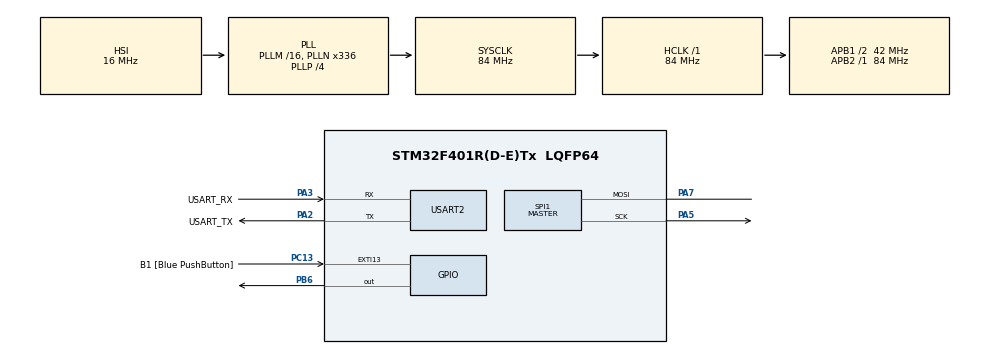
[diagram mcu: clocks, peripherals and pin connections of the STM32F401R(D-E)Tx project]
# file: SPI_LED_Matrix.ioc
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Dma.Request0=SPI1_TX
Dma.SPI1_TX.0.Direction=DMA_MEMORY_TO_PERIPH
Dma.SPI1_TX.0.FIFOMode=DMA_FIFOMODE_DISABLE
Dma.SPI1_TX.0.Instance=DMA2_Stream3
Dma.SPI1_TX.0.MemDataAlignment=DMA_MDATAALIGN_BYTE
Dma.SPI1_TX.0.MemInc=DMA_MINC_ENABLE
Dma.SPI1_TX.0.Mode=DMA_NORMAL
Dma.SPI1_TX.0.PeriphDataAlignment=DMA_PDATAALIGN_BYTE
Dma.SPI1_TX.0.PeriphInc=DMA_PINC_DISABLE
Dma.SPI1_TX.0.Priority=DMA_PRIORITY_LOW
Mcu.Family=STM32F4
Mcu.Name=STM32F401R(D-E)Tx
Mcu.Package=LQFP64
NVIC.DMA2_Stream3_IRQn=true\:0\:0\:false\:false\:true\:false\:true\:true
NVIC.PriorityGroup=NVIC_PRIORITYGROUP_1
NVIC.SPI1_IRQn=true\:0\:0\:false\:false\:true\:true\:true\:true
NVIC.TIM2_IRQn=true\:0\:0\:false\:false\:true\:true\:true\:true
PA13.GPIO_Label=TMS
PA13.Mode=Serial_Wire
PA13.Signal=SYS_JTMS-SWDIO
PA14.GPIO_Label=TCK
PA14.Mode=Serial_Wire
PA14.Signal=SYS_JTCK-SWCLK
PA2.GPIO_Label=USART_TX
PA2.GPIO_Mode=GPIO_MODE_AF_PP
PA2.GPIO_PuPd=GPIO_NOPULL
PA2.GPIO_Speed=GPIO_SPEED_FREQ_LOW
PA2.Mode=Asynchronous
PA2.Signal=USART2_TX
PA3.GPIO_Label=USART_RX
PA3.GPIO_Mode=GPIO_MODE_AF_PP
PA3.GPIO_PuPd=GPIO_NOPULL
PA3.GPIO_Speed=GPIO_SPEED_FREQ_LOW
PA3.Mode=Asynchronous
PA3.Signal=USART2_RX
PA5.Mode=Simplex_Bidirectional_Master
PA5.Signal=SPI1_SCK
PA6.Signal=SPI1_MISO
PA7.Mode=Simplex_Bidirectional_Master
PA7.Signal=SPI1_MOSI
PB3.GPIO_Label=SWO
PB3.Signal=SYS_JTDO-SWO
PB6.Signal=GPIO_Output
PC13-ANTI_TAMP.GPIO_Label=B1 [Blue PushButton]
PC13-ANTI_TAMP.GPIO_ModeDefaultEXTI=GPIO_MODE_IT_FALLING
PC13-ANTI_TAMP.GPIO_PuPd=GPIO_NOPULL
PC13-ANTI_TAMP.Signal=GPXTI13
PC14-OSC32_IN.Mode=LSE-External-Oscillator
PC14-OSC32_IN.Signal=RCC_OSC32_IN
PC15-OSC32_OUT.Mode=LSE-External-Oscillator
PC15-OSC32_OUT.Signal=RCC_OSC32_OUT
PH0\ -\ OSC_IN.Mode=HSE-External-Clock-Source
PH0\ -\ OSC_IN.Signal=RCC_OSC_IN
PH1\ -\ OSC_OUT.Mode=HSE-External-Clock-Source
PH1\ -\ OSC_OUT.Signal=RCC_OSC_OUT
ProjectManager.HeapSize=0x200
ProjectManager.StackSize=0x400
ProjectManager.TargetToolchain=STM32CubeIDE
RCC.48MHZClocksFreq_Value=48000000
RCC.AHBFreq_Value=84000000
RCC.APB1CLKDivider=RCC_HCLK_DIV2
RCC.APB1Freq_Value=42000000
RCC.APB1TimFreq_Value=84000000
RCC.APB2Freq_Value=84000000
RCC.APB2TimFreq_Value=84000000
RCC.CortexFreq_Value=84000000
RCC.HCLKFreq_Value=84000000
RCC.HSE_VALUE=8000000
RCC.HSI_VALUE=16000000
RCC.PLLN=336
RCC.PLLP=RCC_PLLP_DIV4
RCC.PLLQ=7
RCC.SYSCLKFreq_VALUE=84000000
RCC.SYSCLKSource=RCC_SYSCLKSOURCE_PLLCLK
RCC.VCOOutputFreq_Value=336000000
SPI1.BaudRatePrescaler=SPI_BAUDRATEPRESCALER_4
SPI1.Direction=SPI_DIRECTION_1LINE
SPI1.Mode=SPI_MODE_MASTER
SPI1.VirtualType=VM_MASTER
TIM2.Period=(TEMPO*10) - 1
TIM2.Prescaler=8400-1
USART2.VirtualMode=VM_ASYNC
VP_TIM2_VS_ClockSourceINT.Mode=Internal
board=NUCLEO-F401RE

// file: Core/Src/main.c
/* USER CODE BEGIN Header */
/**
  ******************************************************************************
  * @file           : main.c
  * @brief          : Main program body
  ******************************************************************************
  * @attention
  *
  * Copyright (c) 2024 STMicroelectronics.
  * All rights reserved.
  *
  * This software is licensed under terms that can be found in the LICENSE file
  * in the root directory of this software component.
  * If no LICENSE file comes with this software, it is provided AS-IS.
  *
  ******************************************************************************
  */
/* USER CODE END Header */
#include "main.h"

/* USER CODE BEGIN PD */
#define TEMPO 4	//time in milliseconds
/* USER CODE END PD */

SPI_HandleTypeDef hspi1;
DMA_HandleTypeDef hdma_spi1_tx;

TIM_HandleTypeDef htim2;

UART_HandleTypeDef huart2;

/* USER CODE BEGIN PV */

uint8_t i    = 0; 					//It indicates the current column that we are controlling
uint8_t size = 2;				//The number of bytes we send through the SPI

uint8_t letter_flag   = 0; 		// It is used to write different letter: A = 0, H = 1
uint16_t letter_timer = 0; 		//This timer will keep track of the total time a letter has been showed

uint16_t showing_time = 4000; 	//You can put here in millisecond your preferred showing time

/* USER CODE END PV */

void SystemClock_Config(void);
static void MX_GPIO_Init(void);
static void MX_DMA_Init(void);
static void MX_USART2_UART_Init(void);
static void MX_SPI1_Init(void);
static void MX_TIM2_Init(void);
/* USER CODE BEGIN PFP */
struct rowcolumn {
	uint8_t row;
	uint8_t column;
};

struct rowcolumn A_letter[5] = {
		{31, 16},
		{36, 8},
		{68, 4},
		{36, 2},
		{31, 1}
};

struct rowcolumn H_letter[5] = {
		{127, 16},
		{8, 8},
		{8, 4},
		{8, 2},
		{127, 1}
};
/* USER CODE END PFP */

/* USER CODE BEGIN 0 */
void HAL_TIM_PeriodElapsedCallback (TIM_HandleTypeDef *htim) {

	if (htim == &htim2) //According to TIM2, values are sent each 4 ms through SPI
		{

			HAL_GPIO_WritePin(GPIOB, GPIO_PIN_6, GPIO_PIN_RESET); //Do not copy the values in the output LATCHES yet

			if (letter_flag == 0)
				HAL_SPI_Transmit_DMA(&hspi1, &A_letter[i], size); //Send the column of letter A
			else
				HAL_SPI_Transmit_DMA(&hspi1, &H_letter[i], size); //Send the column of letter H

			letter_timer++;	//Increase the letter_timer to keep track how many time is elapsed

			if(letter_timer == showing_time/TEMPO) //If we reach the max showing time, we change letter
			{
				letter_flag = !letter_flag;
				letter_timer = 0;
			}

		}

}

void HAL_SPI_TxCpltCallback(SPI_HandleTypeDef *hspi) {

	HAL_GPIO_WritePin(GPIOB, GPIO_PIN_6, GPIO_PIN_SET); //When the communication is finished, the
														//values are allowed to be written in the LED Matrix

	if(i == 4)  //if we have reached the last column
		i = 0;  //return to the first column
	else
		i++;	//switch to the next column

}
/* USER CODE END 0 */

int main(void)
{

  /* MCU Configuration--------------------------------------------------------*/

  /* Reset of all peripherals, Initializes the Flash interface and the Systick. */
  HAL_Init();

  /* Configure the system clock */
  SystemClock_Config();

  /* Initialize all configured peripherals */
  MX_GPIO_Init();
  MX_DMA_Init();
  MX_USART2_UART_Init();
  MX_SPI1_Init();
  MX_TIM2_Init();
  /* USER CODE BEGIN 2 */

  HAL_TIM_Base_Start_IT(&htim2);

  /* USER CODE END 2 */

  /* Infinite loop */
  while (1)
  {

  }
}

void SystemClock_Config(void)
{
  RCC_OscInitTypeDef RCC_OscInitStruct = {0};
  RCC_ClkInitTypeDef RCC_ClkInitStruct = {0};

  /** Configure the main internal regulator output voltage
  */
  __HAL_RCC_PWR_CLK_ENABLE();
  __HAL_PWR_VOLTAGESCALING_CONFIG(PWR_REGULATOR_VOLTAGE_SCALE2);

  /** Initializes the RCC Oscillators according to the specified parameters
  * in the RCC_OscInitTypeDef structure.
  */
  RCC_OscInitStruct.OscillatorType = RCC_OSCILLATORTYPE_HSI;
  RCC_OscInitStruct.HSIState = RCC_HSI_ON;
  RCC_OscInitStruct.HSICalibrationValue = RCC_HSICALIBRATION_DEFAULT;
  RCC_OscInitStruct.PLL.PLLState = RCC_PLL_ON;
  RCC_OscInitStruct.PLL.PLLSource = RCC_PLLSOURCE_HSI;
  RCC_OscInitStruct.PLL.PLLM = 16;
  RCC_OscInitStruct.PLL.PLLN = 336;
  RCC_OscInitStruct.PLL.PLLP = RCC_PLLP_DIV4;
  RCC_OscInitStruct.PLL.PLLQ = 7;
  if (HAL_RCC_OscConfig(&RCC_OscInitStruct) != HAL_OK)
  {
    Error_Handler();
  }

  /** Initializes the CPU, AHB and APB buses clocks
  */
  RCC_ClkInitStruct.ClockType = RCC_CLOCKTYPE_HCLK|RCC_CLOCKTYPE_SYSCLK
                              |RCC_CLOCKTYPE_PCLK1|RCC_CLOCKTYPE_PCLK2;
  RCC_ClkInitStruct.SYSCLKSource = RCC_SYSCLKSOURCE_PLLCLK;
  RCC_ClkInitStruct.AHBCLKDivider = RCC_SYSCLK_DIV1;
  RCC_ClkInitStruct.APB1CLKDivider = RCC_HCLK_DIV2;
  RCC_ClkInitStruct.APB2CLKDivider = RCC_HCLK_DIV1;

  if (HAL_RCC_ClockConfig(&RCC_ClkInitStruct, FLASH_LATENCY_2) != HAL_OK)
  {
    Error_Handler();
  }
}

static void MX_SPI1_Init(void)
{

  /* SPI1 parameter configuration*/
  hspi1.Instance = SPI1;
  hspi1.Init.Mode = SPI_MODE_MASTER;
  hspi1.Init.Direction = SPI_DIRECTION_1LINE;
  hspi1.Init.DataSize = SPI_DATASIZE_8BIT;
  hspi1.Init.CLKPolarity = SPI_POLARITY_LOW;
  hspi1.Init.CLKPhase = SPI_PHASE_1EDGE;
  hspi1.Init.NSS = SPI_NSS_SOFT;
  hspi1.Init.BaudRatePrescaler = SPI_BAUDRATEPRESCALER_4;
  hspi1.Init.FirstBit = SPI_FIRSTBIT_MSB;
  hspi1.Init.TIMode = SPI_TIMODE_DISABLE;
  hspi1.Init.CRCCalculation = SPI_CRCCALCULATION_DISABLE;
  hspi1.Init.CRCPolynomial = 10;
  if (HAL_SPI_Init(&hspi1) != HAL_OK)
  {
    Error_Handler();
  }

}

static void MX_TIM2_Init(void)
{

  TIM_ClockConfigTypeDef sClockSourceConfig = {0};
  TIM_MasterConfigTypeDef sMasterConfig = {0};

  htim2.Instance = TIM2;
  htim2.Init.Prescaler = 8400-1;
  htim2.Init.CounterMode = TIM_COUNTERMODE_UP;
  htim2.Init.Period = (TEMPO*10) - 1;
  htim2.Init.ClockDivision = TIM_CLOCKDIVISION_DIV1;
  htim2.Init.AutoReloadPreload = TIM_AUTORELOAD_PRELOAD_DISABLE;
  if (HAL_TIM_Base_Init(&htim2) != HAL_OK)
  {
    Error_Handler();
  }
  sClockSourceConfig.ClockSource = TIM_CLOCKSOURCE_INTERNAL;
  if (HAL_TIM_ConfigClockSource(&htim2, &sClockSourceConfig) != HAL_OK)
  {
    Error_Handler();
  }
  sMasterConfig.MasterOutputTrigger = TIM_TRGO_RESET;
  sMasterConfig.MasterSlaveMode = TIM_MASTERSLAVEMODE_DISABLE;
  if (HAL_TIMEx_MasterConfigSynchronization(&htim2, &sMasterConfig) != HAL_OK)
  {
    Error_Handler();
  }

}

static void MX_USART2_UART_Init(void)
{

  huart2.Instance = USART2;
  huart2.Init.BaudRate = 115200;
  huart2.Init.WordLength = UART_WORDLENGTH_8B;
  huart2.Init.StopBits = UART_STOPBITS_1;
  huart2.Init.Parity = UART_PARITY_NONE;
  huart2.Init.Mode = UART_MODE_TX_RX;
  huart2.Init.HwFlowCtl = UART_HWCONTROL_NONE;
  huart2.Init.OverSampling = UART_OVERSAMPLING_16;
  if (HAL_UART_Init(&huart2) != HAL_OK)
  {
    Error_Handler();
  }

}

static void MX_DMA_Init(void)
{

  /* DMA controller clock enable */
  __HAL_RCC_DMA2_CLK_ENABLE();

  /* DMA interrupt init */
  /* DMA2_Stream3_IRQn interrupt configuration */
  HAL_NVIC_SetPriority(DMA2_Stream3_IRQn, 0, 0);
  HAL_NVIC_EnableIRQ(DMA2_Stream3_IRQn);

}

static void MX_GPIO_Init(void)
{
  GPIO_InitTypeDef GPIO_InitStruct = {0};

  /* GPIO Ports Clock Enable */
  __HAL_RCC_GPIOC_CLK_ENABLE();
  __HAL_RCC_GPIOH_CLK_ENABLE();
  __HAL_RCC_GPIOA_CLK_ENABLE();
  __HAL_RCC_GPIOB_CLK_ENABLE();

  /*Configure GPIO pin Output Level */
  HAL_GPIO_WritePin(GPIOB, GPIO_PIN_6, GPIO_PIN_RESET);

  /*Configure GPIO pin : B1_Pin */
  GPIO_InitStruct.Pin = B1_Pin;
  GPIO_InitStruct.Mode = GPIO_MODE_IT_FALLING;
  GPIO_InitStruct.Pull = GPIO_NOPULL;
  HAL_GPIO_Init(B1_GPIO_Port, &GPIO_InitStruct);

  /*Configure GPIO pin : PB6 */
  GPIO_InitStruct.Pin = GPIO_PIN_6;
  GPIO_InitStruct.Mode = GPIO_MODE_OUTPUT_PP;
  GPIO_InitStruct.Pull = GPIO_NOPULL;
  GPIO_InitStruct.Speed = GPIO_SPEED_FREQ_LOW;
  HAL_GPIO_Init(GPIOB, &GPIO_InitStruct);

}

void Error_Handler(void)
{
  __disable_irq();
  while (1)
  {
  }
}
